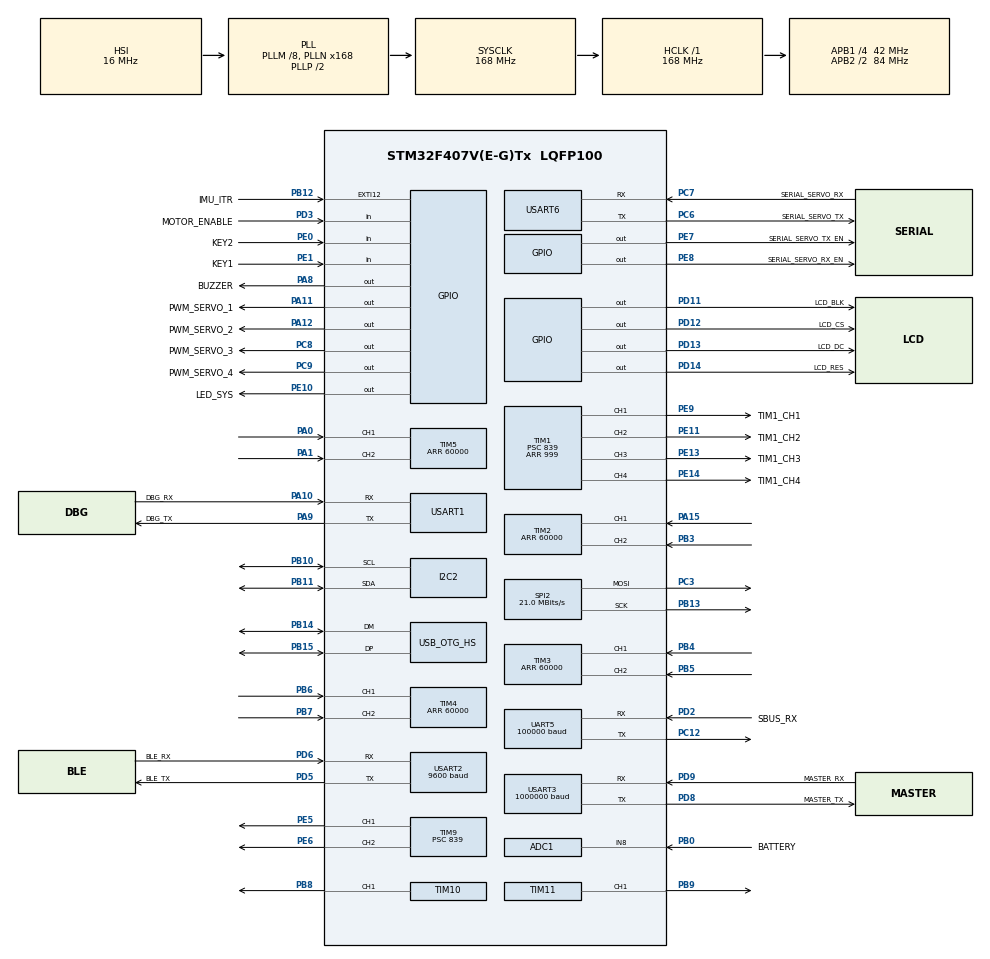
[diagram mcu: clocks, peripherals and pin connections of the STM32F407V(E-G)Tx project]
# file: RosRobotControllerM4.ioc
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ADC1.Channel-4\#ChannelRegularConversion=ADC_CHANNEL_VREFINT
ADC1.Channel-5\#ChannelRegularConversion=ADC_CHANNEL_8
ADC1.ClockPrescaler=ADC_CLOCK_SYNC_PCLK_DIV8
ADC1.ContinuousConvMode=DISABLE
ADC1.EOCSelection=ADC_EOC_SEQ_CONV
ADC1.NbrOfConversion=2
ADC1.NbrOfConversionFlag=1
ADC1.Rank-4\#ChannelRegularConversion=1
ADC1.Rank-5\#ChannelRegularConversion=2
ADC1.SamplingTime-4\#ChannelRegularConversion=ADC_SAMPLETIME_480CYCLES
ADC1.SamplingTime-5\#ChannelRegularConversion=ADC_SAMPLETIME_480CYCLES
ADC1.master=1
Dma.ADC1.8.Direction=DMA_PERIPH_TO_MEMORY
Dma.ADC1.8.FIFOMode=DMA_FIFOMODE_DISABLE
Dma.ADC1.8.Instance=DMA2_Stream0
Dma.ADC1.8.MemDataAlignment=DMA_MDATAALIGN_HALFWORD
Dma.ADC1.8.MemInc=DMA_MINC_ENABLE
Dma.ADC1.8.Mode=DMA_CIRCULAR
Dma.ADC1.8.PeriphDataAlignment=DMA_PDATAALIGN_HALFWORD
Dma.ADC1.8.PeriphInc=DMA_PINC_DISABLE
Dma.ADC1.8.Priority=DMA_PRIORITY_LOW
Dma.I2C2_RX.0.Direction=DMA_PERIPH_TO_MEMORY
Dma.I2C2_RX.0.FIFOMode=DMA_FIFOMODE_DISABLE
Dma.I2C2_RX.0.Instance=DMA1_Stream2
Dma.I2C2_RX.0.MemDataAlignment=DMA_MDATAALIGN_BYTE
Dma.I2C2_RX.0.MemInc=DMA_MINC_ENABLE
Dma.I2C2_RX.0.Mode=DMA_NORMAL
Dma.I2C2_RX.0.PeriphDataAlignment=DMA_PDATAALIGN_BYTE
Dma.I2C2_RX.0.PeriphInc=DMA_PINC_DISABLE
Dma.I2C2_RX.0.Priority=DMA_PRIORITY_VERY_HIGH
Dma.I2C2_TX.1.Direction=DMA_MEMORY_TO_PERIPH
Dma.I2C2_TX.1.FIFOMode=DMA_FIFOMODE_DISABLE
Dma.I2C2_TX.1.Instance=DMA1_Stream7
Dma.I2C2_TX.1.MemDataAlignment=DMA_MDATAALIGN_BYTE
Dma.I2C2_TX.1.MemInc=DMA_MINC_ENABLE
Dma.I2C2_TX.1.Mode=DMA_NORMAL
Dma.I2C2_TX.1.PeriphDataAlignment=DMA_PDATAALIGN_BYTE
Dma.I2C2_TX.1.PeriphInc=DMA_PINC_DISABLE
Dma.I2C2_TX.1.Priority=DMA_PRIORITY_VERY_HIGH
Dma.Request0=I2C2_RX
Dma.Request1=I2C2_TX
Dma.Request2=UART5_RX
Dma.Request3=USART3_RX
Dma.Request4=USART3_TX
Dma.Request5=SPI2_TX
Dma.Request6=USART2_RX
Dma.Request7=USART2_TX
Dma.Request8=ADC1
Dma.SPI2_TX.5.Direction=DMA_MEMORY_TO_PERIPH
Dma.SPI2_TX.5.FIFOMode=DMA_FIFOMODE_DISABLE
Dma.SPI2_TX.5.Instance=DMA1_Stream4
Dma.SPI2_TX.5.MemDataAlignment=DMA_MDATAALIGN_BYTE
Dma.SPI2_TX.5.MemInc=DMA_MINC_ENABLE
Dma.SPI2_TX.5.Mode=DMA_NORMAL
Dma.SPI2_TX.5.PeriphDataAlignment=DMA_PDATAALIGN_BYTE
Dma.SPI2_TX.5.PeriphInc=DMA_PINC_DISABLE
Dma.SPI2_TX.5.Priority=DMA_PRIORITY_LOW
Dma.UART5_RX.2.Direction=DMA_PERIPH_TO_MEMORY
Dma.UART5_RX.2.FIFOMode=DMA_FIFOMODE_DISABLE
Dma.UART5_RX.2.Instance=DMA1_Stream0
Dma.UART5_RX.2.MemDataAlignment=DMA_MDATAALIGN_BYTE
Dma.UART5_RX.2.MemInc=DMA_MINC_ENABLE
Dma.UART5_RX.2.Mode=DMA_CIRCULAR
Dma.UART5_RX.2.PeriphDataAlignment=DMA_PDATAALIGN_BYTE
Dma.UART5_RX.2.PeriphInc=DMA_PINC_DISABLE
Dma.UART5_RX.2.Priority=DMA_PRIORITY_MEDIUM
Dma.USART2_RX.6.Direction=DMA_PERIPH_TO_MEMORY
Dma.USART2_RX.6.FIFOMode=DMA_FIFOMODE_DISABLE
Dma.USART2_RX.6.Instance=DMA1_Stream5
Dma.USART2_RX.6.MemDataAlignment=DMA_MDATAALIGN_BYTE
Dma.USART2_RX.6.MemInc=DMA_MINC_ENABLE
Dma.USART2_RX.6.Mode=DMA_NORMAL
Dma.USART2_RX.6.PeriphDataAlignment=DMA_PDATAALIGN_BYTE
Dma.USART2_RX.6.PeriphInc=DMA_PINC_DISABLE
Dma.USART2_RX.6.Priority=DMA_PRIORITY_MEDIUM
Dma.USART2_TX.7.Direction=DMA_MEMORY_TO_PERIPH
Dma.USART2_TX.7.FIFOMode=DMA_FIFOMODE_DISABLE
Dma.USART2_TX.7.Instance=DMA1_Stream6
Dma.USART2_TX.7.MemDataAlignment=DMA_MDATAALIGN_BYTE
Dma.USART2_TX.7.MemInc=DMA_MINC_ENABLE
Dma.USART2_TX.7.Mode=DMA_NORMAL
Dma.USART2_TX.7.PeriphDataAlignment=DMA_PDATAALIGN_BYTE
Dma.USART2_TX.7.PeriphInc=DMA_PINC_DISABLE
Dma.USART2_TX.7.Priority=DMA_PRIORITY_MEDIUM
Dma.USART3_RX.3.Direction=DMA_PERIPH_TO_MEMORY
Dma.USART3_RX.3.FIFOMode=DMA_FIFOMODE_DISABLE
Dma.USART3_RX.3.Instance=DMA1_Stream1
Dma.USART3_RX.3.MemDataAlignment=DMA_MDATAALIGN_BYTE
Dma.USART3_RX.3.MemInc=DMA_MINC_ENABLE
Dma.USART3_RX.3.Mode=DMA_CIRCULAR
Dma.USART3_RX.3.PeriphDataAlignment=DMA_PDATAALIGN_BYTE
Dma.USART3_RX.3.PeriphInc=DMA_PINC_DISABLE
Dma.USART3_RX.3.Priority=DMA_PRIORITY_HIGH
Dma.USART3_TX.4.Direction=DMA_MEMORY_TO_PERIPH
Dma.USART3_TX.4.FIFOMode=DMA_FIFOMODE_DISABLE
Dma.USART3_TX.4.Instance=DMA1_Stream3
Dma.USART3_TX.4.MemDataAlignment=DMA_MDATAALIGN_BYTE
Dma.USART3_TX.4.MemInc=DMA_MINC_ENABLE
Dma.USART3_TX.4.Mode=DMA_NORMAL
Dma.USART3_TX.4.PeriphDataAlignment=DMA_PDATAALIGN_BYTE
Dma.USART3_TX.4.PeriphInc=DMA_PINC_DISABLE
Dma.USART3_TX.4.Priority=DMA_PRIORITY_HIGH
FREERTOS.BinarySemaphores01=packet_tx_idle,Static,packet_tx_ControlBlock;packet_rx_not_empty,Static,packet_rx_not_emptyControlBlock;mpu6050_data_ready,Static,mpu6050_data_readyControlBlock;sbus_data_ready_01_,Static,sbus_data_ready_01_ControlBlock;spi_tx_finished,Static,spi_tx_finishedControlBlock;bluetooth_tx_idle,Static,bluetooth_tx_idleControlBlock
FREERTOS.Events01=sbus_data_ready_event_,Static,sbus_data_ready_event_ControlBlock
FREERTOS.INCLUDE_vTaskCleanUpResources=1
FREERTOS.INCLUDE_xEventGroupSetBitFromISR=1
FREERTOS.Queues01=packet_tx_queue,64,void*,0,Static,packet_tx_queueBuffer,packet_tx_queueControlBlock;lvgl_event_queue,16,void*,0,Static,lvgl_event_queueBuffer,lvgl_event_queueControlBlock;moving_ctrl_queue,32,char,0,Static,moving_ctrl_queueBuffer,moving_ctrl_queueControlBlock;bluetooth_tx_queue,8,8,1,Static,bluetooth_tx_queueBuffer,bluetooth_tx_queueControlBlock
FREERTOS.Tasks01=defaultTask,8,128,StartDefaultTask,Default,NULL,Static,defaultTaskBuffer,defaultTaskControlBlock;imu_task,32,128,imu_task_entry,As weak,NULL,Static,imu_taskBuffer,imu_taskControlBlock;packet_tx_task,24,128,packet_tx_task_entry,As weak,NULL,Static,packet_tx_taskBuffer,packet_tx_taskControlBlock;packet_rx_task,24,256,packet_rx_task_entry,As weak,NULL,Static,packet_rx_taskBuffer,packet_rx_taskControlBlock;sbus_rx_task,24,128,sbus_rx_task_entry,As weak,NULL,Static,sbus_rx_taskBuffer,sbus_rx_taskControlBlock;gui_task,16,512,gui_task_entry,As weak,NULL,Static,gui_taskBuffer,gui_taskControlBlock;app_task,24,512,app_task_entry,As weak,NULL,Static,app_taskBuffer,app_taskControlBlock;bluetooth_task,24,128,bluetooth_task_entry,As weak,NULL,Static,bluetooth_taskBuffer,bluetooth_taskControlBlock
FREERTOS.Timers01=button_timer,button_timer_callback,osTimerPeriodic,As weak,NULL,Static,button_timerControlBlock;led_timer,led_timer_callback,osTimerPeriodic,As weak,NULL,Static,led_timerControlBlock;lvgl_timer,lvgl_timer_callback,osTimerPeriodic,As weak,NULL,Static,lvgl_timerControlBlock;buzzer_timer,buzzer_timer_callback,osTimerPeriodic,As weak,NULL,Static,buzzer_timerControlBlock;battery_check_timer,battery_check_timer_callback,osTimerPeriodic,As weak,NULL,Static,battery_check_timerControlBlock;IMU_read_timer,IMU_read_timer_callback,osTimerPeriodic,As weak,NULL,Static,IMU_read_timerControlBlock
FREERTOS.configENABLE_FPU=1
FREERTOS.configTIMER_QUEUE_LENGTH=10
FREERTOS.configTIMER_TASK_STACK_DEPTH=6144
FREERTOS.configTOTAL_HEAP_SIZE=12288
FREERTOS.configUSE_IDLE_HOOK=1
FREERTOS.configUSE_NEWLIB_REENTRANT=0
FREERTOS.configUSE_TICK_HOOK=1
I2C2.DutyCycle=I2C_DUTYCYCLE_16_9
I2C2.I2C_Mode=I2C_Fast
Mcu.Family=STM32F4
Mcu.Name=STM32F407V(E-G)Tx
Mcu.Package=LQFP100
NVIC.DMA1_Stream0_IRQn=true\:5\:0\:false\:true\:true\:1\:true\:false\:true\:true
NVIC.DMA1_Stream1_IRQn=true\:5\:0\:false\:true\:true\:2\:true\:false\:true\:true
NVIC.DMA1_Stream2_IRQn=true\:5\:0\:false\:true\:true\:3\:true\:false\:true\:true
NVIC.DMA1_Stream3_IRQn=true\:5\:0\:false\:true\:true\:4\:true\:false\:true\:true
NVIC.DMA1_Stream4_IRQn=true\:5\:0\:false\:false\:true\:true\:true\:true\:true
NVIC.DMA1_Stream5_IRQn=true\:5\:0\:false\:false\:true\:true\:true\:true\:true
NVIC.DMA1_Stream6_IRQn=true\:5\:0\:false\:false\:true\:true\:true\:true\:true
NVIC.DMA1_Stream7_IRQn=true\:5\:0\:false\:true\:true\:9\:true\:false\:true\:true
NVIC.EXTI15_10_IRQn=true\:5\:0\:false\:true\:true\:7\:true\:true\:false\:true
NVIC.OTG_HS_IRQn=true\:5\:0\:false\:false\:true\:true\:false\:true\:true
NVIC.PriorityGroup=NVIC_PRIORITYGROUP_4
NVIC.TIM2_IRQn=true\:5\:0\:false\:false\:true\:true\:true\:false\:true
NVIC.TIM3_IRQn=true\:5\:0\:false\:false\:true\:true\:true\:false\:true
NVIC.TIM4_IRQn=true\:5\:0\:false\:false\:true\:true\:true\:false\:true
NVIC.TIM5_IRQn=true\:5\:0\:false\:true\:true\:10\:true\:true\:false\:true
NVIC.TIM7_IRQn=true\:5\:0\:false\:true\:true\:12\:true\:true\:false\:true
NVIC.TIM8_BRK_TIM12_IRQn=true\:5\:0\:false\:false\:true\:true\:true\:false\:true
NVIC.TIM8_TRG_COM_TIM14_IRQn=true\:0\:0\:false\:false\:true\:false\:false\:true\:true
NVIC.TIM8_UP_TIM13_IRQn=true\:5\:0\:false\:true\:true\:8\:true\:true\:false\:true
NVIC.TimeBase=TIM8_TRG_COM_TIM14_IRQn
NVIC.TimeBaseIP=TIM14
NVIC.UART5_IRQn=true\:5\:0\:true\:true\:true\:11\:true\:true\:true\:true
NVIC.USART2_IRQn=true\:5\:0\:false\:true\:true\:5\:true\:true\:true\:true
NVIC.USART3_IRQn=true\:5\:0\:false\:true\:true\:6\:true\:true\:true\:true
NVIC.USART6_IRQn=true\:5\:0\:false\:true\:true\:13\:true\:true\:true\:true
PA0-WKUP.GPIO_PuPd=GPIO_PULLUP
PA0-WKUP.GPIO_Speed=GPIO_SPEED_FREQ_VERY_HIGH
PA0-WKUP.Signal=S_TIM5_CH1
PA1.GPIO_PuPd=GPIO_PULLUP
PA1.GPIO_Speed=GPIO_SPEED_FREQ_VERY_HIGH
PA1.Signal=S_TIM5_CH2
PA10.GPIO_Label=DBG_RX
PA10.Mode=Asynchronous
PA10.Signal=USART1_RX
PA11.GPIO_Label=PWM_SERVO_1
PA11.GPIO_Speed=GPIO_SPEED_FREQ_HIGH
PA11.PinState=GPIO_PIN_RESET
PA11.Signal=GPIO_Output
PA12.GPIO_Label=PWM_SERVO_2
PA12.GPIO_Speed=GPIO_SPEED_FREQ_HIGH
PA12.Signal=GPIO_Output
PA13.Signal=SYS_JTMS-SWDIO
PA14.Signal=SYS_JTCK-SWCLK
PA15.GPIO_PuPd=GPIO_PULLUP
PA15.GPIO_Speed=GPIO_SPEED_FREQ_VERY_HIGH
PA15.Signal=S_TIM2_CH1_ETR
PA8.GPIO_Label=BUZZER
PA8.GPIO_Speed=GPIO_SPEED_FREQ_VERY_HIGH
PA8.PinState=GPIO_PIN_RESET
PA8.Signal=GPIO_Output
PA9.GPIO_Label=DBG_TX
PA9.Mode=Asynchronous
PA9.Signal=USART1_TX
PB0.GPIO_Label=BATTERY
PB0.Signal=ADCx_IN8
PB10.GPIO_Pu=GPIO_PULLUP
PB10.Mode=I2C
PB10.Signal=I2C2_SCL
PB11.GPIO_Pu=GPIO_PULLUP
PB11.Mode=I2C
PB11.Signal=I2C2_SDA
PB12.GPIO_Label=IMU_ITR
PB12.Signal=GPXTI12
PB13.Mode=TX_Only_Simplex_Unidirect_Master
PB13.Signal=SPI2_SCK
PB14.Mode=Host_FS
PB14.Signal=USB_OTG_HS_DM
PB15.Mode=Host_FS
PB15.Signal=USB_OTG_HS_DP
PB3.GPIO_PuPd=GPIO_PULLUP
PB3.GPIO_Speed=GPIO_SPEED_FREQ_VERY_HIGH
PB3.Signal=S_TIM2_CH2
PB4.GPIO_Speed=GPIO_SPEED_FREQ_VERY_HIGH
PB4.Signal=S_TIM3_CH1
PB5.GPIO_Speed=GPIO_SPEED_FREQ_VERY_HIGH
PB5.Signal=S_TIM3_CH2
PB6.Signal=S_TIM4_CH1
PB7.Signal=S_TIM4_CH2
PB8.Signal=S_TIM10_CH1
PB9.GPIO_Speed=GPIO_SPEED_FREQ_HIGH
PB9.Signal=S_TIM11_CH1
PC12.Mode=Asynchronous
PC12.Signal=UART5_TX
PC3.Mode=TX_Only_Simplex_Unidirect_Master
PC3.Signal=SPI2_MOSI
PC6.GPIO_Label=SERIAL_SERVO_TX
PC6.Mode=Asynchronous
PC6.Signal=USART6_TX
PC7.GPIO_Label=SERIAL_SERVO_RX
PC7.Mode=Asynchronous
PC7.Signal=USART6_RX
PC8.GPIO_Label=PWM_SERVO_3
PC8.GPIO_Speed=GPIO_SPEED_FREQ_HIGH
PC8.PinState=GPIO_PIN_SET
PC8.Signal=GPIO_Output
PC9.GPIO_Label=PWM_SERVO_4
PC9.GPIO_Speed=GPIO_SPEED_FREQ_HIGH
PC9.Signal=GPIO_Output
PD11.GPIO_Label=LCD_BLK
PD11.GPIO_Speed=GPIO_SPEED_FREQ_VERY_HIGH
PD11.PinState=GPIO_PIN_SET
PD11.Signal=GPIO_Output
PD12.GPIO_Label=LCD_CS
PD12.GPIO_Speed=GPIO_SPEED_FREQ_VERY_HIGH
PD12.PinState=GPIO_PIN_SET
PD12.Signal=GPIO_Output
PD13.GPIO_Label=LCD_DC
PD13.GPIO_Speed=GPIO_SPEED_FREQ_VERY_HIGH
PD13.Signal=GPIO_Output
PD14.GPIO_Label=LCD_RES
PD14.GPIO_Speed=GPIO_SPEED_FREQ_VERY_HIGH
PD14.PinState=GPIO_PIN_SET
PD14.Signal=GPIO_Output
PD2.GPIO_Label=SBUS_RX
PD2.Mode=Asynchronous
PD2.Signal=UART5_RX
PD3.GPIO_Label=MOTOR_ENABLE
PD3.Signal=GPIO_Input
PD5.GPIO_Label=BLE_TX
PD5.Mode=Asynchronous
PD5.Signal=USART2_TX
PD6.GPIO_Label=BLE_RX
PD6.Mode=Asynchronous
PD6.Signal=USART2_RX
PD8.GPIO_Label=MASTER_TX
PD8.GPIO_PuPd=GPIO_NOPULL
PD8.Mode=Asynchronous
PD8.Signal=USART3_TX
PD9.GPIO_Label=MASTER_RX
PD9.GPIO_PuPd=GPIO_NOPULL
PD9.Mode=Asynchronous
PD9.Signal=USART3_RX
PE0.GPIO_Label=KEY2
PE0.Signal=GPIO_Input
PE1.GPIO_Label=KEY1
PE1.Signal=GPIO_Input
PE10.GPIO_Label=LED_SYS
PE10.GPIO_Speed=GPIO_SPEED_FREQ_MEDIUM
PE10.PinState=GPIO_PIN_SET
PE10.Signal=GPIO_Output
PE11.GPIO_Label=TIM1_CH2
PE11.GPIO_Speed=GPIO_SPEED_FREQ_HIGH
PE11.Signal=S_TIM1_CH2
PE13.GPIO_Label=TIM1_CH3
PE13.GPIO_Speed=GPIO_SPEED_FREQ_HIGH
PE13.Signal=S_TIM1_CH3
PE14.GPIO_Label=TIM1_CH4
PE14.GPIO_Speed=GPIO_SPEED_FREQ_HIGH
PE14.Signal=S_TIM1_CH4
PE5.Signal=S_TIM9_CH1
PE6.Signal=S_TIM9_CH2
PE7.GPIO_Label=SERIAL_SERVO_TX_EN
PE7.GPIO_Speed=GPIO_SPEED_FREQ_VERY_HIGH
PE7.Signal=GPIO_Output
PE8.GPIO_Label=SERIAL_SERVO_RX_EN
PE8.GPIO_Speed=GPIO_SPEED_FREQ_VERY_HIGH
PE8.Signal=GPIO_Output
PE9.GPIO_Label=TIM1_CH1
PE9.GPIO_Speed=GPIO_SPEED_FREQ_HIGH
PE9.Signal=S_TIM1_CH1
PH0-OSC_IN.Mode=HSE-External-Oscillator
PH0-OSC_IN.Signal=RCC_OSC_IN
PH1-OSC_OUT.Mode=HSE-External-Oscillator
PH1-OSC_OUT.Signal=RCC_OSC_OUT
ProjectManager.HeapSize=0x200
ProjectManager.StackSize=0x600
ProjectManager.TargetToolchain=MDK-ARM V5.32
RCC.48MHZClocksFreq_Value=48000000
RCC.AHBFreq_Value=168000000
RCC.APB1CLKDivider=RCC_HCLK_DIV4
RCC.APB1Freq_Value=42000000
RCC.APB1TimFreq_Value=84000000
RCC.APB2CLKDivider=RCC_HCLK_DIV2
RCC.APB2Freq_Value=84000000
RCC.APB2TimFreq_Value=168000000
RCC.CortexFreq_Value=168000000
RCC.EnbaleCSS=true
RCC.HCLKFreq_Value=168000000
RCC.HSE_VALUE=8000000
RCC.HSI_VALUE=16000000
RCC.LSE_VALUE=32768
RCC.PLLM=4
RCC.PLLN=168
RCC.PLLQ=7
RCC.SYSCLKFreq_VALUE=168000000
RCC.SYSCLKSource=RCC_SYSCLKSOURCE_PLLCLK
RCC.VCOOutputFreq_Value=336000000
SH.ADCx_IN8.0=ADC1_IN8,IN8
SH.S_TIM10_CH1.0=TIM10_CH1,PWM Generation1 CH1
SH.S_TIM11_CH1.0=TIM11_CH1,PWM Generation1 CH1
SH.S_TIM1_CH1.0=TIM1_CH1,PWM Generation1 CH1
SH.S_TIM1_CH2.0=TIM1_CH2,PWM Generation2 CH2
SH.S_TIM1_CH3.0=TIM1_CH3,PWM Generation3 CH3
SH.S_TIM1_CH4.0=TIM1_CH4,PWM Generation4 CH4
SH.S_TIM2_CH1_ETR.0=TIM2_CH1,Encoder_Interface
SH.S_TIM2_CH2.0=TIM2_CH2,Encoder_Interface
SH.S_TIM3_CH1.0=TIM3_CH1,Encoder_Interface
SH.S_TIM3_CH2.0=TIM3_CH2,Encoder_Interface
SH.S_TIM4_CH1.0=TIM4_CH1,Encoder_Interface
SH.S_TIM4_CH2.0=TIM4_CH2,Encoder_Interface
SH.S_TIM5_CH1.0=TIM5_CH1,Encoder_Interface
SH.S_TIM5_CH2.0=TIM5_CH2,Encoder_Interface
SH.S_TIM9_CH1.0=TIM9_CH1,PWM Generation1 CH1
SH.S_TIM9_CH2.0=TIM9_CH2,PWM Generation2 CH2
SPI2.BaudRatePrescaler=SPI_BAUDRATEPRESCALER_2
SPI2.CLKPhase=SPI_PHASE_1EDGE
SPI2.CLKPolarity=SPI_POLARITY_LOW
SPI2.CalculateBaudRate=21.0 MBits/s
SPI2.DataSize=SPI_DATASIZE_8BIT
SPI2.Direction=SPI_DIRECTION_2LINES
SPI2.FirstBit=SPI_FIRSTBIT_MSB
SPI2.Mode=SPI_MODE_MASTER
SPI2.VirtualType=VM_MASTER
TIM1.AutoReloadPreload=TIM_AUTORELOAD_PRELOAD_ENABLE
TIM1.Channel-PWM\ Generation1\ CH1=TIM_CHANNEL_1
TIM1.Channel-PWM\ Generation2\ CH2=TIM_CHANNEL_2
TIM1.Channel-PWM\ Generation3\ CH3=TIM_CHANNEL_3
TIM1.Channel-PWM\ Generation4\ CH4=TIM_CHANNEL_4
TIM1.OCFastMode_PWM-PWM\ Generation1\ CH1=TIM_OCFAST_ENABLE
TIM1.OCFastMode_PWM-PWM\ Generation2\ CH2=TIM_OCFAST_ENABLE
TIM1.OCFastMode_PWM-PWM\ Generation3\ CH3=TIM_OCFAST_ENABLE
TIM1.OCFastMode_PWM-PWM\ Generation4\ CH4=TIM_OCFAST_ENABLE
TIM1.Period=999
TIM1.Prescaler=839
TIM1.Pulse-PWM\ Generation1\ CH1=0
TIM1.Pulse-PWM\ Generation2\ CH2=0
TIM1.Pulse-PWM\ Generation3\ CH3=0
TIM1.Pulse-PWM\ Generation4\ CH4=0
TIM10.AutoReloadPreload=TIM_AUTORELOAD_PRELOAD_ENABLE
TIM10.Channel=TIM_CHANNEL_1
TIM10.OCFastMode_PWM=TIM_OCFAST_ENABLE
TIM10.Period=999
TIM10.Prescaler=839
TIM11.AutoReloadPreload=TIM_AUTORELOAD_PRELOAD_ENABLE
TIM11.Channel=TIM_CHANNEL_1
TIM11.OCFastMode_PWM=TIM_OCFAST_ENABLE
TIM11.Period=999
TIM11.Prescaler=839
TIM11.Pulse=0
TIM12.AutoReloadPreload=TIM_AUTORELOAD_PRELOAD_ENABLE
TIM12.Channel-Output\ Compare1\ No\ Output=TIM_CHANNEL_1
TIM12.OC1Preload=ENABLE
TIM12.OCMode_1=TIM_OCMODE_TIMING
TIM12.Period=99
TIM12.Prescaler=839
TIM12.Pulse-Output\ Compare1\ No\ Output=50
TIM13.AutoReloadPreload=TIM_AUTORELOAD_PRELOAD_ENABLE
TIM13.Channel=TIM_CHANNEL_1
TIM13.OC1Preload=DISABLE
TIM13.Period=4999
TIM13.Prescaler=83
TIM13.Pulse=0
TIM2.AutoReloadPreload=TIM_AUTORELOAD_PRELOAD_ENABLE
TIM2.EncoderMode=TIM_ENCODERMODE_TI12
TIM2.Period=60000
TIM3.AutoReloadPreload=TIM_AUTORELOAD_PRELOAD_ENABLE
TIM3.EncoderMode=TIM_ENCODERMODE_TI12
TIM3.Period=60000
TIM4.AutoReloadPreload=TIM_AUTORELOAD_PRELOAD_ENABLE
TIM4.EncoderMode=TIM_ENCODERMODE_TI12
TIM4.Period=60000
TIM5.AutoReloadPreload=TIM_AUTORELOAD_PRELOAD_ENABLE
TIM5.EncoderMode=TIM_ENCODERMODE_TI12
TIM5.Period=60000
TIM7.AutoReloadPreload=TIM_AUTORELOAD_PRELOAD_ENABLE
TIM7.Period=9999
TIM7.Prescaler=83
TIM9.AutoReloadPreload=TIM_AUTORELOAD_PRELOAD_ENABLE
TIM9.Channel-PWM\ Generation1\ CH1=TIM_CHANNEL_1
TIM9.Channel-PWM\ Generation2\ CH2=TIM_CHANNEL_2
TIM9.OCFastMode_PWM-PWM\ Generation1\ CH1=TIM_OCFAST_ENABLE
TIM9.OCFastMode_PWM-PWM\ Generation2\ CH2=TIM_OCFAST_ENABLE
TIM9.Period=999
TIM9.Prescaler=839
UART5.BaudRate=100000
UART5.Mode=MODE_RX
UART5.Parity=PARITY_EVEN
UART5.StopBits=UART_STOPBITS_2
UART5.VirtualMode=Asynchronous
UART5.WordLength=WORDLENGTH_9B
USART1.VirtualMode=VM_ASYNC
USART2.BaudRate=9600
USART2.VirtualMode=VM_ASYNC
USART3.BaudRate=1000000
USART3.VirtualMode=VM_ASYNC
USART6.VirtualMode=VM_ASYNC
USB_HOST.USBH_DEBUG_LEVEL-HID_HS=0
USB_HOST.USBH_HandleTypeDef-HID_HS=hUsbHostHS
USB_HOST.USBH_KEEP_CFG_DESCRIPTOR-HID_HS=1
USB_HOST.USBH_MAX_DATA_BUFFER-HID_HS=512
USB_HOST.USBH_MAX_NUM_CONFIGURATION-HID_HS=2
USB_HOST.USBH_MAX_NUM_ENDPOINTS-HID_HS=2
USB_HOST.USBH_MAX_NUM_INTERFACES-HID_HS=2
USB_HOST.USBH_MAX_NUM_SUPPORTED_CLASS-HID_HS=1
USB_HOST.USBH_MAX_SIZE_CONFIGURATION-HID_HS=512
USB_HOST.USBH_PROCESS_PRIO-HID_HS=osPriorityNormal
USB_HOST.USBH_PROCESS_STACK_SIZE-HID_HS=2048
USB_HOST.VirtualModeHS=Hid
USB_OTG_HS.Sof_enable-Host_FS=DISABLE
USB_OTG_HS.VirtualMode-Host_FS=Host_FS
USB_OTG_HS.dma_enable-Host_FS=DISABLE
VP_ADC1_Vref_Input.Mode=IN-Vrefint
VP_CRC_VS_CRC.Mode=CRC_Activate
VP_FREERTOS_VS_CMSIS_V2.Mode=CMSIS_V2
VP_SYS_VS_tim14.Mode=TIM14
VP_TIM10_VS_ClockSourceINT.Mode=Enable_Timer
VP_TIM11_VS_ClockSourceINT.Mode=Enable_Timer
VP_TIM12_VS_ClockSourceINT.Mode=Internal
VP_TIM12_VS_no_output1.Mode=Output Compare1 No Output
VP_TIM13_VS_ClockSourceINT.Mode=Enable_Timer
VP_TIM13_VS_no_output1.Mode=Output Compare1 No Output
VP_TIM1_VS_ClockSourceINT.Mode=Internal
VP_TIM7_VS_ClockSourceINT.Mode=Enable_Timer
VP_TIM9_VS_ClockSourceINT.Mode=Internal
VP_USB_HOST_VS_USB_HOST_HID_HS.Mode=HID_HS
board=custom

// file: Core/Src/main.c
/* USER CODE BEGIN Header */
/**
  ******************************************************************************
  * @file           : main.c
  * @brief          : Main program body
  ******************************************************************************
  * @attention
  *
  * <h2><center>&copy; Copyright (c) 2023 STMicroelectronics.
  * All rights reserved.</center></h2>
  *
  * This software component is licensed by ST under BSD 3-Clause license,
  * the "License"; You may not use this file except in compliance with the
  * License. You may obtain a copy of the License at:
  *                        opensource.org/licenses/BSD-3-Clause
  *
  * ********************************************
  *   main()函数，单片机入口函数
  *
  *   ! ! ! 注意
  *   该工程使用了 FreeRTOS系统
  *   用户的入口函数在 Hiwonder/System文件夹中的app.c文件中的app_task_entry()线程任务�?
  *   �?要其他线程任务，则需创建其他线程（建议在STM32CubeMX软件中创建）
  *
  *   ! ! ! 注意
  *   在CubeMX中创建的文件中，
  *   用户程序与注�? 都需要写在以下注释的中间，才不会在使用CubeMX更改配置之后，导致用户程序被覆盖�? !!!
  *   (若不使用CubeMX软件，则可跳过该�?)
  *
  *   / * USER CODE BEGIN xxx * /
  *   //用户程序
  *   / * USER CODE END xxx * /
  *
  *
  * ********************************************
  *
  ******************************************************************************
  */
/* USER CODE END Header */
#include "main.h"
#include "cmsis_os.h"
#include "adc.h"
#include "crc.h"
#include "dma.h"
#include "i2c.h"
#include "spi.h"
#include "tim.h"
#include "usart.h"
#include "usb_host.h"
#include "gpio.h"

/* USER CODE BEGIN Includes */
#include "lwmem_porting.h"
#include "log.h"
#include <stdio.h>
/* USER CODE END Includes */

void SystemClock_Config(void);
void MX_FREERTOS_Init(void);
static void MX_NVIC_Init(void);

int main(void)
{
  /* USER CODE BEGIN 1 */
  /* Bare-metal UART1: send "MAIN\r\n" to confirm main() is reached */
  {
    /* UART1 may already be configured from SystemInit; just transmit */
    const char mmsg[] = "MAIN\r\n";
    for (int i = 0; mmsg[i]; i++) {
      while (!(*(volatile uint32_t*)0x40011000 & (1UL << 7)));
      *(volatile uint32_t*)0x40011004 = (uint32_t)mmsg[i];
    }
    while (!(*(volatile uint32_t*)0x40011000 & (1UL << 6)));
  }
  //��־��ӡ���ܳ�ʼ��
  LOG_INIT();
  lwmem_assignmem(lwmem_regions);  /* ��̬�ڴ��ʼ�� */
  /* CP-A: past LOG_INIT and lwmem */
  *(volatile uint32_t*)0x40011004 = 'A';
  while (!(*(volatile uint32_t*)0x40011000 & (1UL << 6)));
  /* USER CODE END 1 */

  /* MCU Configuration--------------------------------------------------------*/

  /* Reset of all peripherals, Initializes the Flash interface and the Systick. */
  HAL_Init();
  /* CP-B: past HAL_Init */
  *(volatile uint32_t*)0x40011004 = 'B';
  while (!(*(volatile uint32_t*)0x40011000 & (1UL << 6)));

  /* Configure the system clock */
  SystemClock_Config();
  /* CP-C: past SystemClock_Config */
  *(volatile uint32_t*)0x40011004 = 'C';
  while (!(*(volatile uint32_t*)0x40011000 & (1UL << 6)));

  /* USER CODE BEGIN SysInit */
    //����IIC1
    __HAL_RCC_I2C1_CLK_ENABLE();
    //����DMA����
    __HAL_RCC_DMA1_CLK_ENABLE();
  /* USER CODE END SysInit */

  /* Initialize all configured peripherals */
  MX_GPIO_Init();
  MX_DMA_Init();
  MX_USART1_UART_Init();
  MX_SPI2_Init();
  MX_TIM1_Init();
  MX_TIM2_Init();
  MX_TIM5_Init();
  MX_TIM9_Init();
  MX_TIM10_Init();
  MX_TIM11_Init();
  MX_I2C2_Init();
  MX_UART5_Init();
  MX_USART2_UART_Init();
  MX_USART3_UART_Init();
  MX_USART6_UART_Init();
  MX_TIM7_Init();
  MX_TIM3_Init();
  MX_TIM4_Init();
  MX_TIM13_Init();
  MX_CRC_Init();
  MX_TIM12_Init();
  MX_ADC1_Init();

  /* Initialize interrupts */
  MX_NVIC_Init();
  /* USER CODE BEGIN 2 */
  //��ӡ��Ϣ����printf()�������÷�һ�����ܹ����ݵȼ�����������־���
  LOG_DEBUG("Start...\r\n");
  /* Diagnostic: send "BOOT" on both UART1 and UART3 to find which is /dev/ttyACM1 */
  {
    uint8_t diag_boot1[] = "BOOT1\r\n";
    uint8_t diag_boot3[] = "BOOT3\r\n";
    HAL_UART_Transmit(&huart1, diag_boot1, sizeof(diag_boot1) - 1, 1000);
    HAL_UART_Transmit(&huart3, diag_boot3, sizeof(diag_boot3) - 1, 1000);
  }
  /* USER CODE END 2 */

  /* Bare-metal UART1: "RTOS\r\n" = peripheral init passed, about to start scheduler */
  {
    const char rmsg[] = "RTOS\r\n";
    for (int i = 0; rmsg[i]; i++) {
      while (!(*(volatile uint32_t*)0x40011000 & (1UL << 7)));
      *(volatile uint32_t*)0x40011004 = (uint32_t)rmsg[i];
    }
    while (!(*(volatile uint32_t*)0x40011000 & (1UL << 6)));
  }

  /* Init scheduler */
  osKernelInitialize();  /* Call init function for freertos objects (in freertos.c) */
  MX_FREERTOS_Init();

  /* Start scheduler */
  osKernelStart();
  /* We should never get here as control is now taken by the scheduler */
  /* Infinite loop */
    while (1) {

    }
}

void SystemClock_Config(void)
{
  RCC_OscInitTypeDef RCC_OscInitStruct = {0};
  RCC_ClkInitTypeDef RCC_ClkInitStruct = {0};

  /** Configure the main internal regulator output voltage
  */
  __HAL_RCC_PWR_CLK_ENABLE();
  __HAL_PWR_VOLTAGESCALING_CONFIG(PWR_REGULATOR_VOLTAGE_SCALE1);

  /** Initializes the RCC Oscillators according to the specified parameters
  * in the RCC_OscInitTypeDef structure.
  */
  RCC_OscInitStruct.OscillatorType = RCC_OSCILLATORTYPE_HSI;
  RCC_OscInitStruct.HSIState = RCC_HSI_ON;
  RCC_OscInitStruct.HSICalibrationValue = RCC_HSICALIBRATION_DEFAULT;
  RCC_OscInitStruct.PLL.PLLState = RCC_PLL_ON;
  RCC_OscInitStruct.PLL.PLLSource = RCC_PLLSOURCE_HSI;
  RCC_OscInitStruct.PLL.PLLM = 8;   /* 16MHz/8 = 2MHz VCO input */
  RCC_OscInitStruct.PLL.PLLN = 168; /* 2*168 = 336MHz VCO */
  RCC_OscInitStruct.PLL.PLLP = RCC_PLLP_DIV2; /* 336/2 = 168MHz SYSCLK */
  RCC_OscInitStruct.PLL.PLLQ = 7;   /* 336/7 ≈ 48MHz USB */
  if (HAL_RCC_OscConfig(&RCC_OscInitStruct) != HAL_OK)
  {
    Error_Handler();
  }

  /** Initializes the CPU, AHB and APB buses clocks
  */
  RCC_ClkInitStruct.ClockType = RCC_CLOCKTYPE_HCLK|RCC_CLOCKTYPE_SYSCLK
                              |RCC_CLOCKTYPE_PCLK1|RCC_CLOCKTYPE_PCLK2;
  RCC_ClkInitStruct.SYSCLKSource = RCC_SYSCLKSOURCE_PLLCLK;
  RCC_ClkInitStruct.AHBCLKDivider = RCC_SYSCLK_DIV1;
  RCC_ClkInitStruct.APB1CLKDivider = RCC_HCLK_DIV4;
  RCC_ClkInitStruct.APB2CLKDivider = RCC_HCLK_DIV2;

  if (HAL_RCC_ClockConfig(&RCC_ClkInitStruct, FLASH_LATENCY_5) != HAL_OK)
  {
    Error_Handler();
  }

  /** Enables the Clock Security System
  */
  HAL_RCC_EnableCSS();
}

/**
  * @brief NVIC Configuration.
  * @retval None
  */
static void MX_NVIC_Init(void)
{
  /* DMA1_Stream0_IRQn interrupt configuration */
  HAL_NVIC_SetPriority(DMA1_Stream0_IRQn, 5, 0);
  HAL_NVIC_EnableIRQ(DMA1_Stream0_IRQn);
  /* DMA1_Stream1_IRQn interrupt configuration */
  HAL_NVIC_SetPriority(DMA1_Stream1_IRQn, 5, 0);
  HAL_NVIC_EnableIRQ(DMA1_Stream1_IRQn);
  /* DMA1_Stream2_IRQn interrupt configuration */
  HAL_NVIC_SetPriority(DMA1_Stream2_IRQn, 5, 0);
  HAL_NVIC_EnableIRQ(DMA1_Stream2_IRQn);
  /* DMA1_Stream3_IRQn interrupt configuration */
  HAL_NVIC_SetPriority(DMA1_Stream3_IRQn, 5, 0);
  HAL_NVIC_EnableIRQ(DMA1_Stream3_IRQn);
  /* USART2_IRQn interrupt configuration */
  HAL_NVIC_SetPriority(USART2_IRQn, 5, 0);
  HAL_NVIC_EnableIRQ(USART2_IRQn);
  /* USART1_IRQn interrupt configuration */
  HAL_NVIC_SetPriority(USART1_IRQn, 5, 0);
  HAL_NVIC_EnableIRQ(USART1_IRQn);
  /* USART3_IRQn interrupt configuration */
  HAL_NVIC_SetPriority(USART3_IRQn, 5, 0);
  HAL_NVIC_EnableIRQ(USART3_IRQn);
  /* EXTI15_10_IRQn interrupt configuration */
  HAL_NVIC_SetPriority(EXTI15_10_IRQn, 5, 0);
  HAL_NVIC_EnableIRQ(EXTI15_10_IRQn);
  /* TIM8_UP_TIM13_IRQn interrupt configuration */
  HAL_NVIC_SetPriority(TIM8_UP_TIM13_IRQn, 5, 0);
  HAL_NVIC_EnableIRQ(TIM8_UP_TIM13_IRQn);
  /* DMA1_Stream7_IRQn interrupt configuration */
  HAL_NVIC_SetPriority(DMA1_Stream7_IRQn, 5, 0);
  HAL_NVIC_EnableIRQ(DMA1_Stream7_IRQn);
  /* TIM5_IRQn interrupt configuration */
  HAL_NVIC_SetPriority(TIM5_IRQn, 5, 0);
  HAL_NVIC_EnableIRQ(TIM5_IRQn);
  /* UART5_IRQn interrupt configuration */
  HAL_NVIC_SetPriority(UART5_IRQn, 5, 0);
  HAL_NVIC_EnableIRQ(UART5_IRQn);
  /* TIM7_IRQn interrupt configuration */
  HAL_NVIC_SetPriority(TIM7_IRQn, 5, 0);
  HAL_NVIC_EnableIRQ(TIM7_IRQn);
  /* USART6_IRQn interrupt configuration */
  HAL_NVIC_SetPriority(USART6_IRQn, 5, 0);
  HAL_NVIC_EnableIRQ(USART6_IRQn);
}

void HAL_TIM_PeriodElapsedCallback(TIM_HandleTypeDef *htim)
{
  if (htim->Instance == TIM14) {
    HAL_IncTick();
  }
}

void Error_Handler(void)
{
    __disable_irq();
    while (1) {
    }
}
